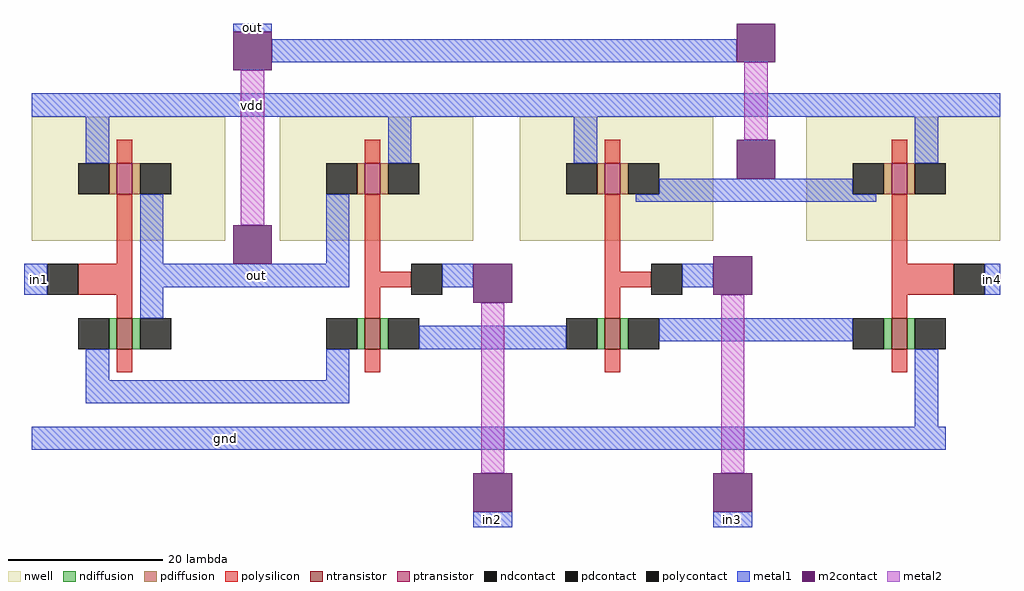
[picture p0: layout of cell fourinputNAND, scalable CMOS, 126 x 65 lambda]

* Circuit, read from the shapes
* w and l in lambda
.subckt fourinputNAND gnd in1 in2 in3 in4 out vdd
M1 out in1 n1 VSUBS nfet w=4 l=2
M2 n2 in2 n1 VSUBS nfet w=4 l=2
M3 n3 in3 n2 VSUBS nfet w=4 l=2
M4 gnd in4 n3 VSUBS nfet w=4 l=2
M5 out in1 vdd n4 pfet w=4 l=2
M6 vdd in2 out n5 pfet w=4 l=2
M7 out in3 vdd n6 pfet w=4 l=2
M8 vdd in4 out n7 pfet w=4 l=2
.ends

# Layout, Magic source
magic
tech scmos
<< nwell >>
rect 0 0 25 16
rect 32 0 57 16
rect 63 0 88 16
rect 100 0 125 16
<< ntransistor >>
rect 11 -14 13 -10
rect 43 -14 45 -10
rect 74 -14 76 -10
rect 111 -14 113 -10
<< ptransistor >>
rect 11 6 13 10
rect 43 6 45 10
rect 74 6 76 10
rect 111 6 113 10
<< ndiffusion >>
rect 10 -14 11 -10
rect 13 -14 14 -10
rect 42 -14 43 -10
rect 45 -14 46 -10
rect 73 -14 74 -10
rect 76 -14 77 -10
rect 110 -14 111 -10
rect 113 -14 114 -10
<< pdiffusion >>
rect 10 6 11 10
rect 13 6 14 10
rect 42 6 43 10
rect 45 6 46 10
rect 73 6 74 10
rect 76 6 77 10
rect 110 6 111 10
rect 113 6 114 10
<< ndcontact >>
rect 6 -14 10 -10
rect 14 -14 18 -10
rect 38 -14 42 -10
rect 46 -14 50 -10
rect 69 -14 73 -10
rect 77 -14 81 -10
rect 106 -14 110 -10
rect 114 -14 118 -10
<< pdcontact >>
rect 6 6 10 10
rect 14 6 18 10
rect 38 6 42 10
rect 46 6 50 10
rect 69 6 73 10
rect 77 6 81 10
rect 106 6 110 10
rect 114 6 118 10
<< polysilicon >>
rect 11 10 13 13
rect 43 10 45 13
rect 74 10 76 13
rect 111 10 113 13
rect 11 -3 13 6
rect 6 -7 13 -3
rect 11 -10 13 -7
rect 43 -4 45 6
rect 43 -6 49 -4
rect 43 -10 45 -6
rect 74 -4 76 6
rect 111 -3 113 6
rect 74 -6 80 -4
rect 74 -10 76 -6
rect 111 -7 119 -3
rect 111 -10 113 -7
rect 11 -17 13 -14
rect 43 -17 45 -14
rect 74 -17 76 -14
rect 111 -17 113 -14
<< polycontact >>
rect 2 -7 6 -3
rect 49 -7 53 -3
rect 80 -7 84 -3
rect 119 -7 123 -3
<< metal1 >>
rect 26 27 31 28
rect 31 23 91 26
rect 0 16 125 19
rect 7 10 10 16
rect 46 10 49 16
rect 70 10 73 16
rect 114 10 117 16
rect 81 6 106 8
rect 14 -3 17 6
rect 38 -3 41 6
rect 78 5 109 6
rect -1 -7 2 -3
rect 14 -6 41 -3
rect 14 -10 17 -6
rect 53 -6 57 -3
rect 84 -6 88 -3
rect 123 -7 125 -3
rect 50 -14 69 -11
rect 81 -13 106 -10
rect 7 -18 10 -14
rect 38 -18 41 -14
rect 7 -21 41 -18
rect 114 -24 117 -14
rect 0 -27 118 -24
rect 57 -37 62 -35
rect 88 -37 93 -35
<< m2contact >>
rect 26 22 31 27
rect 91 23 96 28
rect 91 8 96 13
rect 26 -3 31 2
rect 57 -8 62 -3
rect 88 -7 93 -2
rect 57 -35 62 -30
rect 88 -35 93 -30
<< metal2 >>
rect 27 2 30 22
rect 92 13 95 23
rect 58 -30 61 -8
rect 89 -30 92 -7
<< labels >>
rlabel metal1 0 16 57 19 5 vdd
rlabel metal1 0 -7 2 -3 3 in1
rlabel metal1 0 -27 50 -24 1 gnd
rlabel metal1 17 -6 41 -3 1 out
rlabel metal1 123 -7 125 -3 7 in4
rlabel metal1 57 -37 62 -35 1 in2
rlabel metal1 88 -37 93 -35 1 in3
rlabel metal1 26 27 31 28 5 out
<< end >>
